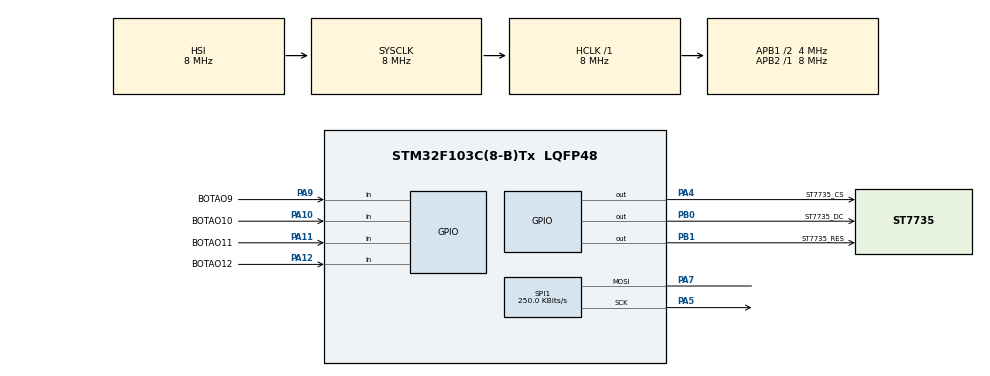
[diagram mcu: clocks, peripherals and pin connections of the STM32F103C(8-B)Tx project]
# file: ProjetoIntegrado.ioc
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Mcu.Family=STM32F1
Mcu.Name=STM32F103C(8-B)Tx
Mcu.Package=LQFP48
NVIC.PriorityGroup=NVIC_PRIORITYGROUP_4
PA10.GPIO_Label=BOTAO10
PA10.GPIO_PuPd=GPIO_PULLUP
PA10.Signal=GPIO_Input
PA11.GPIO_Label=BOTAO11
PA11.GPIO_PuPd=GPIO_PULLUP
PA11.Signal=GPIO_Input
PA12.GPIO_Label=BOTAO12
PA12.GPIO_PuPd=GPIO_PULLUP
PA12.Signal=GPIO_Input
PA13.Mode=Serial_Wire
PA13.Signal=SYS_JTMS-SWDIO
PA14.Mode=Serial_Wire
PA14.Signal=SYS_JTCK-SWCLK
PA4.GPIO_Label=ST7735_CS
PA4.Signal=GPIO_Output
PA5.Mode=Simplex_Bidirectional_Master
PA5.Signal=SPI1_SCK
PA7.Mode=Simplex_Bidirectional_Master
PA7.Signal=SPI1_MOSI
PA9.GPIO_Label=BOTAO9
PA9.GPIO_PuPd=GPIO_PULLUP
PA9.Signal=GPIO_Input
PB0.GPIO_Label=ST7735_DC
PB0.Signal=GPIO_Output
PB1.GPIO_Label=ST7735_RES
PB1.Signal=GPIO_Output
ProjectManager.HeapSize=0x200
ProjectManager.StackSize=0x400
ProjectManager.TargetToolchain=STM32CubeIDE
RCC.AHBFreq_Value=8000000
RCC.APB1CLKDivider=RCC_HCLK_DIV2
RCC.APB1Freq_Value=4000000
RCC.APB1TimFreq_Value=8000000
RCC.APB2Freq_Value=8000000
RCC.APB2TimFreq_Value=8000000
RCC.HCLKFreq_Value=8000000
RCC.SYSCLKFreq_VALUE=8000000
RCC.USBFreq_Value=8000000
SPI1.BaudRatePrescaler=SPI_BAUDRATEPRESCALER_32
SPI1.CalculateBaudRate=250.0 KBits/s
SPI1.Direction=SPI_DIRECTION_1LINE
SPI1.Mode=SPI_MODE_MASTER
SPI1.VirtualType=VM_MASTER
board=custom

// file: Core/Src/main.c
/* USER CODE BEGIN Header */
/**
  ******************************************************************************
  * @file           : main.c
  * @brief          : Main program body
  ******************************************************************************
  * @attention
  *
  * <h2><center>&copy; Copyright (c) 2026 STMicroelectronics.
  * All rights reserved.</center></h2>
  *
  * This software component is licensed by ST under BSD 3-Clause license,
  * the "License"; You may not use this file except in compliance with the
  * License. You may obtain a copy of the License at:
  *                        opensource.org/licenses/BSD-3-Clause
  *
  ******************************************************************************
  */
/* USER CODE END Header */
#include "main.h"

/* USER CODE BEGIN Includes */
#include "st7735\st7735.h" // display
#include <stdlib.h> // rand
#include <stdio.h> // sprintf
/* USER CODE END Includes */

/* USER CODE BEGIN PD */
#define BotaoLe  HAL_GPIO_ReadPin(BOTAO9_GPIO_Port, BOTAO9_Pin)
#define BotaoLe1 HAL_GPIO_ReadPin(BOTAO10_GPIO_Port, BOTAO10_Pin)
#define BotaoLe2 HAL_GPIO_ReadPin(BOTAO11_GPIO_Port, BOTAO11_Pin)
#define BotaoLe3 HAL_GPIO_ReadPin(BOTAO12_GPIO_Port, BOTAO12_Pin)
#define limpar ST7735_FillScreen(BLACK)
/* USER CODE END PD */

SPI_HandleTypeDef hspi1;

/* USER CODE BEGIN PV */
int alunosMax = 0, alunos = 0;
int matricula = 1000;
int totalEntradas = 0, totalSaidas = 0, totalRetornos = 0;
char AlunosFora[4] = "0" , AlunosDentro[4] =  "0", AlunosMax[4] =  "0";
uint32_t inicioAula;

/* USER CODE END PV */

void SystemClock_Config(void);
static void MX_GPIO_Init(void);
static void MX_SPI1_Init(void);
/* USER CODE BEGIN PFP */
void inicio(void);
void digitarsenha(void);
void configurarAlunos(void);
void menu(void);
void entrada(void);
void relatorio(void);
void barra(int dentro, int maximo);

/* USER CODE END PFP */

int main(void)
{
  /* USER CODE BEGIN 1 */

	  bool iniciou = false;
	  bool senhaGerada = false;
	  bool digitandoSenha = false;
	  bool senhaCorreta = false;
	  int senha, cliques = 0, digitado = 0, digitos = 0, tentativas = 0;
	  uint32_t ultimoClique = 0;

  /* USER CODE END 1 */

  /* MCU Configuration--------------------------------------------------------*/

  /* Reset of all peripherals, Initializes the Flash interface and the Systick. */
  HAL_Init();

  /* Configure the system clock */
  SystemClock_Config();

  /* Initialize all configured peripherals */
  MX_GPIO_Init();
  MX_SPI1_Init();
  /* USER CODE BEGIN 2 */
  ST7735_Init();
  ST7735_InvertColors(false);

  /* USER CODE END 2 */

  /* Infinite loop */
  /* USER CODE BEGIN WHILE */
  while (1)
  {

	  if (iniciou == false)
	  {
		  limpar;
		  inicio();
		  iniciou = true;
	  }

	  if (BotaoLe == 0 && senhaGerada == false)
	      {
		  limpar;
		  digitarsenha();
		  digitandoSenha = true;
		  srand(HAL_GetTick());
		  senha = (rand() % 90000) + 100000;
		  senhaGerada = true;
	      }

	  if (BotaoLe1 == 0 && digitandoSenha == true){
		  char *digitoTexto = "";
		  cliques++;
		  ultimoClique = HAL_GetTick();

		  HAL_Delay(200);
		  while(BotaoLe1 == 0)
		  {
		  }
		  switch(cliques){
		      case 1:
		          digitoTexto = "1";
		          break;
		      case 2:
		          digitoTexto = "2";
		          break;
		      case 3:
		          digitoTexto = "3";
		          break;
		      case 4:
		          digitoTexto = "4";
		          break;
		      case 5:
		          digitoTexto = "5";
		          break;
		      case 6:
		          digitoTexto = "6";
		          break;
		      case 7:
		          digitoTexto = "7";
		          break;
		      case 8:
		          digitoTexto = "8";
		          break;
		      case 9:
		          digitoTexto = "9";
		          break;
		      case 10 :
		    	  digitoTexto = "0";
		    	  break;
		      default:
		          cliques = 0;
		          break;
		  }

		  ST7735_WriteString(digitos * 10, 20, digitoTexto, Font_7x10, WHITE, BLACK);

		  }

	  if (cliques > 0 && (HAL_GetTick() - ultimoClique) > 1000){
		  if (cliques == 10){
			  cliques = 0;
		  }
		  digitado = digitado * 10 + cliques;
		  digitos++;

		  cliques = 0;

		  if (digitos == 6)
		  {
			  limpar;
			  if (digitado == senha)
			  {
				  ST7735_WriteString(0,0,"ACESSO LIBERADO", Font_16x26, GREEN, BLACK);
				  senhaCorreta = true;
				  digitandoSenha = false;
				  HAL_Delay(500);

			  }
			  else
			  {
				  tentativas ++;
				  if(tentativas == 3){
					  ST7735_WriteString(0,0,"Voce errou a senha varias vezes, espere 30 segundos", Font_11x18, RED, BLACK);
					  HAL_Delay(30000);
					  tentativas = 0;
					  digitado = 0;
				      digitos = 0;
				  }
				  else {
				  ST7735_WriteString(0,0,"SENHA INCORRETA, TENTE NOVAMENTE", Font_11x18, RED, BLACK);
				  HAL_Delay(500);
				  digitado = 0;
				  digitos = 0;
				  }

				  limpar;
				  digitarsenha();

			  }
		  }

		  if (senhaCorreta == true)
		  {
			  configurarAlunos();
			  menu();

			  senhaCorreta = false;
			  senhaGerada = false;
			  digitandoSenha = false;
			  digitado = 0;
			  digitos = 0;
			  cliques = 0;
			  iniciou = false;
			  alunosMax = 0;
			  alunos = 0;
			  matricula = 1000;
			  totalEntradas = 0;
			  totalSaidas = 0;
			  totalRetornos = 0;
			  tentativas = 0;

		  }

}

    /* USER CODE END WHILE */

  }
}

void SystemClock_Config(void)
{
  RCC_OscInitTypeDef RCC_OscInitStruct = {0};
  RCC_ClkInitTypeDef RCC_ClkInitStruct = {0};

  /** Initializes the RCC Oscillators according to the specified parameters
  * in the RCC_OscInitTypeDef structure.
  */
  RCC_OscInitStruct.OscillatorType = RCC_OSCILLATORTYPE_HSI;
  RCC_OscInitStruct.HSIState = RCC_HSI_ON;
  RCC_OscInitStruct.HSICalibrationValue = RCC_HSICALIBRATION_DEFAULT;
  RCC_OscInitStruct.PLL.PLLState = RCC_PLL_NONE;
  if (HAL_RCC_OscConfig(&RCC_OscInitStruct) != HAL_OK)
  {
    Error_Handler();
  }
  /** Initializes the CPU, AHB and APB buses clocks
  */
  RCC_ClkInitStruct.ClockType = RCC_CLOCKTYPE_HCLK|RCC_CLOCKTYPE_SYSCLK
                              |RCC_CLOCKTYPE_PCLK1|RCC_CLOCKTYPE_PCLK2;
  RCC_ClkInitStruct.SYSCLKSource = RCC_SYSCLKSOURCE_HSI;
  RCC_ClkInitStruct.AHBCLKDivider = RCC_SYSCLK_DIV1;
  RCC_ClkInitStruct.APB1CLKDivider = RCC_HCLK_DIV2;
  RCC_ClkInitStruct.APB2CLKDivider = RCC_HCLK_DIV1;

  if (HAL_RCC_ClockConfig(&RCC_ClkInitStruct, FLASH_LATENCY_0) != HAL_OK)
  {
    Error_Handler();
  }
}

static void MX_SPI1_Init(void)
{

  /* SPI1 parameter configuration*/
  hspi1.Instance = SPI1;
  hspi1.Init.Mode = SPI_MODE_MASTER;
  hspi1.Init.Direction = SPI_DIRECTION_1LINE;
  hspi1.Init.DataSize = SPI_DATASIZE_8BIT;
  hspi1.Init.CLKPolarity = SPI_POLARITY_LOW;
  hspi1.Init.CLKPhase = SPI_PHASE_1EDGE;
  hspi1.Init.NSS = SPI_NSS_SOFT;
  hspi1.Init.BaudRatePrescaler = SPI_BAUDRATEPRESCALER_32;
  hspi1.Init.FirstBit = SPI_FIRSTBIT_MSB;
  hspi1.Init.TIMode = SPI_TIMODE_DISABLE;
  hspi1.Init.CRCCalculation = SPI_CRCCALCULATION_DISABLE;
  hspi1.Init.CRCPolynomial = 10;
  if (HAL_SPI_Init(&hspi1) != HAL_OK)
  {
    Error_Handler();
  }

}

static void MX_GPIO_Init(void)
{
  GPIO_InitTypeDef GPIO_InitStruct = {0};

  /* GPIO Ports Clock Enable */
  __HAL_RCC_GPIOA_CLK_ENABLE();
  __HAL_RCC_GPIOB_CLK_ENABLE();

  /*Configure GPIO pin Output Level */
  HAL_GPIO_WritePin(ST7735_CS_GPIO_Port, ST7735_CS_Pin, GPIO_PIN_RESET);

  /*Configure GPIO pin Output Level */
  HAL_GPIO_WritePin(GPIOB, ST7735_DC_Pin|ST7735_RES_Pin, GPIO_PIN_RESET);

  /*Configure GPIO pin : ST7735_CS_Pin */
  GPIO_InitStruct.Pin = ST7735_CS_Pin;
  GPIO_InitStruct.Mode = GPIO_MODE_OUTPUT_PP;
  GPIO_InitStruct.Pull = GPIO_NOPULL;
  GPIO_InitStruct.Speed = GPIO_SPEED_FREQ_LOW;
  HAL_GPIO_Init(ST7735_CS_GPIO_Port, &GPIO_InitStruct);

  /*Configure GPIO pins : ST7735_DC_Pin ST7735_RES_Pin */
  GPIO_InitStruct.Pin = ST7735_DC_Pin|ST7735_RES_Pin;
  GPIO_InitStruct.Mode = GPIO_MODE_OUTPUT_PP;
  GPIO_InitStruct.Pull = GPIO_NOPULL;
  GPIO_InitStruct.Speed = GPIO_SPEED_FREQ_LOW;
  HAL_GPIO_Init(GPIOB, &GPIO_InitStruct);

  /*Configure GPIO pins : BOTAO9_Pin BOTAO10_Pin BOTAO11_Pin BOTAO12_Pin */
  GPIO_InitStruct.Pin = BOTAO9_Pin|BOTAO10_Pin|BOTAO11_Pin|BOTAO12_Pin;
  GPIO_InitStruct.Mode = GPIO_MODE_INPUT;
  GPIO_InitStruct.Pull = GPIO_PULLUP;
  HAL_GPIO_Init(GPIOA, &GPIO_InitStruct);

}

/* USER CODE BEGIN 4 */
 void inicio(void)
 {
		ST7735_WriteString(0,0,"Pressione o botao para o comeco da aula ", Font_7x10, WHITE, BLACK);

 }

 void digitarsenha(void)
 {

	 ST7735_WriteString(0,0,"Bem vindo, Digite a sua senha: ", Font_7x10, WHITE, BLACK);
 }

 void configurarAlunos(void)
 {
	 bool configurandoAlunos =true;
	 char textoAlunos[8];

	 limpar;
	 ST7735_WriteString(0,0,"Digite a quantidade de alunos ", Font_7x10, WHITE, BLACK);

	 while(configurandoAlunos == true){

		 if (BotaoLe1 == 0)
		 {
			 alunosMax++;
			 HAL_Delay(200);

		 }

		 else if (BotaoLe2 == 0 && alunosMax > 0)
		 {
			 alunosMax--;
			 HAL_Delay(200);
		 }

		 else if (BotaoLe == 0 && alunosMax > 0)
		 {

			 configurandoAlunos = false;
			 HAL_Delay(200);
		 }

		 sprintf(textoAlunos, "%-2d", alunosMax);
		 ST7735_WriteString(0,20,"Alunos: ", Font_7x10, WHITE, BLACK);
		 ST7735_WriteString(57,20,textoAlunos, Font_7x10, WHITE, BLACK);

	 }

	 limpar;
	 ST7735_WriteString(0,0,"O numero max de alunos: ", Font_7x10, WHITE, BLACK);
	 ST7735_WriteString(14,10,textoAlunos, Font_7x10, WHITE, BLACK);
	 HAL_Delay(1000);

 }
 void menu(void)
 {
	 limpar;
	 int alunosDentro = 0;
	 int alunosFora = 0;
	 sprintf(AlunosMax, "%-2d", alunosMax);
	 sprintf(AlunosDentro, "%d", alunosDentro);
	 sprintf(AlunosFora, "%d", alunosFora);

	 ST7735_WriteString(0,0,"Max de alunos: ", Font_7x10, WHITE, BLACK);
	 ST7735_WriteString(99,0, AlunosMax, Font_7x10, WHITE, BLACK);
	 ST7735_WriteString(0,10,"Alunos na sala: ", Font_7x10, WHITE, BLACK);
	 ST7735_WriteString(107,10,AlunosDentro, Font_7x10, WHITE, BLACK);
	 ST7735_WriteString(0,20,"Alunos fora: ", Font_7x10, WHITE, BLACK);
	 ST7735_WriteString(86,20, AlunosFora, Font_7x10, WHITE, BLACK);

	 barra(alunosDentro, alunosMax);

	 while(true){
		 if(BotaoLe == 0)
		 {
			 entrada();
			 inicioAula = HAL_GetTick();
			 alunosDentro = alunos - alunosFora;

			 barra(alunosDentro, alunosMax);
			 sprintf(AlunosDentro, "%-2d", alunosDentro);
			 ST7735_WriteString(107,10,AlunosDentro, Font_7x10, WHITE, BLACK);
			 ST7735_WriteString(86,20, AlunosFora, Font_7x10, WHITE, BLACK);

		 }
		 if(BotaoLe1 == 0){

			 if (alunosFora < 3 && alunosDentro > 0){
				 alunosFora ++;
				 alunosDentro --;
				 totalSaidas++;
				 barra(alunosDentro, alunosMax);

				 sprintf(AlunosDentro, "%-2d", alunosDentro);
				 sprintf(AlunosFora, "%-2d", alunosFora);

				 ST7735_WriteString(107,10,AlunosDentro, Font_7x10, WHITE, BLACK);
				 ST7735_WriteString(86,20, AlunosFora, Font_7x10, WHITE, BLACK);

			 }
			 else if(alunosDentro == 0){
				 ST7735_WriteString(0,30, "NAO HA NENHUM ALUNO NA SALA", Font_7x10, RED, BLACK);
				 HAL_Delay(1000);
				 ST7735_FillRectangle(0, 30, 160, 10, BLACK);
				 ST7735_FillRectangle(0, 40, 160, 10, BLACK);
			 }
			 else if (alunosFora == 3){
				 ST7735_WriteString(0,30, "TEM 3 ALUNOS FORA. ESPERE ", Font_7x10, RED, BLACK);
				 HAL_Delay(1000);
				 ST7735_FillRectangle(0, 30, 160, 10, BLACK);
				 ST7735_FillRectangle(0, 40, 160, 10, BLACK);
			 }
		 	 	 HAL_Delay(200);
				 while(BotaoLe1 == 0){

			 }
		 }
		 if(BotaoLe2 == 0){
			 if (alunosFora > 0){
				 alunosDentro ++;
				 alunosFora --;
				 totalRetornos++;
				 barra(alunosDentro, alunosMax);

				 sprintf(AlunosDentro, "%-2d", alunosDentro);
				 sprintf(AlunosFora, "%-2d", alunosFora);

				 ST7735_WriteString(107,10,AlunosDentro, Font_7x10, WHITE, BLACK);
				 ST7735_WriteString(86,20, AlunosFora, Font_7x10, WHITE, BLACK);
			 }
			 else{
				 ST7735_WriteString(0,30,"NAO HA ALUNOS FORA DA SALA", Font_7x10, RED, BLACK);
				 HAL_Delay(1000);
				 ST7735_FillRectangle(0, 30, 160, 10, BLACK);
				 ST7735_FillRectangle(0, 40, 160, 10, BLACK);
			 }
				 HAL_Delay(200);
				 while(BotaoLe2 == 0){

			 }

		 }
		 if (BotaoLe3 == 0 && BotaoLe2 == 0){

			relatorio();
			break;

		 }

	 }
 }
 void entrada(void)
 {
	 limpar;
	 bool entrandoAlunos = true;
	 char matriculaAluno[5];
	 ST7735_WriteString(0,0,"Aperte o botao 9 para entrar ", Font_7x10, WHITE, BLACK);

	 while(entrandoAlunos){
		 if(BotaoLe == 0){

			 if ( alunos < alunosMax){
				 alunos++;
				 totalEntradas++;
				 sprintf(matriculaAluno, "%d", matricula);
				 barra(alunos, alunosMax);
				 ST7735_WriteString(0,20,"Bem Vindo, Entrou: ", Font_7x10, WHITE, BLACK);
				 ST7735_WriteString(127,20,matriculaAluno, Font_7x10, WHITE, BLACK);
				 matricula++;
			 }
			 else {
		     ST7735_WriteString(0,30,"SalaCheia", Font_16x26, RED, BLACK);
			 }

			 HAL_Delay(200);
			 while(BotaoLe == 0){
			 }

		 }
		 if(BotaoLe1 == 0){
			 entrandoAlunos = false;
			 HAL_Delay(200);
			 while(BotaoLe1 == 0){

			 }
		 }

	 }
	 limpar;
	 ST7735_WriteString(0,0,"Max de alunos: ", Font_7x10, WHITE, BLACK);
	 ST7735_WriteString(99,0, AlunosMax, Font_7x10, WHITE, BLACK);
	 ST7735_WriteString(0,10,"Alunos na sala: ", Font_7x10, WHITE, BLACK);
	 ST7735_WriteString(0,20,"Alunos fora: ", Font_7x10, WHITE, BLACK);
 }

 void relatorio(void){

	char texto[10];
	 limpar;

	 uint32_t duracaoMs = HAL_GetTick() - inicioAula;
	 uint32_t minutos = duracaoMs / 60000;
	 uint32_t segundos = (duracaoMs % 60000) / 1000;

		ST7735_WriteString(0,0,"RelatorioFinal", Font_11x18, BLUE, BLACK);

		sprintf(texto, "%d", totalEntradas);
		ST7735_WriteString(0,19,"Total de alunos presentes:", Font_7x10, WHITE, BLACK);
		ST7735_WriteString(45,29,texto, Font_7x10, WHITE, BLACK);

		sprintf(texto, "%d", totalSaidas);
		ST7735_WriteString(0,39,"Total de saidas:", Font_7x10, WHITE, BLACK);
		ST7735_WriteString(113,39,texto, Font_7x10, WHITE, BLACK);

		sprintf(texto, "%d", totalRetornos);
		ST7735_WriteString(0,49,"Total de retornos:", Font_7x10, WHITE, BLACK);
		ST7735_WriteString(122,49,texto, Font_7x10, WHITE, BLACK);

		sprintf(texto, "%02ld:%02ld", minutos, segundos);
		ST7735_WriteString(0,59,"Tempo da aula:", Font_7x10, WHITE, BLACK);
		ST7735_WriteString(99,59,texto, Font_7x10, WHITE, BLACK);

		HAL_Delay(120000);
 }

 void barra(int dentro, int maximo) {

	 if (maximo > 0){
	 	 int larguraTotal = 120;
	     int larguraBarra = (dentro * larguraTotal) / maximo;

	     ST7735_FillRectangle(11, 61, larguraTotal, 8, BLACK);

	     ST7735_FillRectangle(11, 61, larguraBarra, 8, GREEN);

	     ST7735_FillRectangle(10, 60, 122, 1, WHITE);
	     ST7735_FillRectangle(10, 69, 122, 1, WHITE);
	     ST7735_FillRectangle(10, 60, 1, 10, WHITE);
	     ST7735_FillRectangle(131, 60, 1, 10, WHITE);
	 }
 }

/* USER CODE END 4 */

void Error_Handler(void)
{
  __disable_irq();
  while (1)
  {
  }
}

/************************ (C) COPYRIGHT STMicroelectronics *****END OF FILE****/
